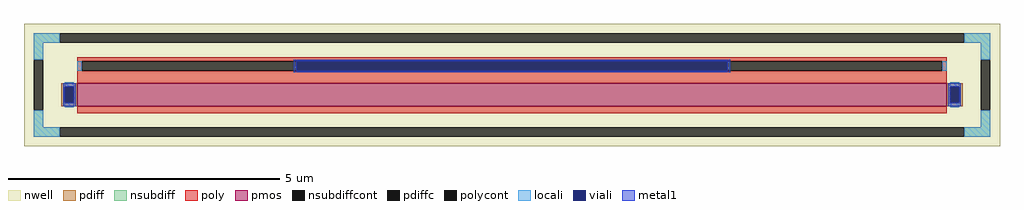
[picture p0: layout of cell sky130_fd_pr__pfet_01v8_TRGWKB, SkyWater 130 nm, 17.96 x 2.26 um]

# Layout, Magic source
magic
tech sky130A
magscale 1 2
<< nwell >>
rect -1796 -226 1796 226
<< pmos >>
rect -1600 -78 1600 6
<< pdiff >>
rect -1658 -6 -1600 6
rect -1658 -66 -1646 -6
rect -1612 -66 -1600 -6
rect -1658 -78 -1600 -66
rect 1600 -6 1658 6
rect 1600 -66 1612 -6
rect 1646 -66 1658 -6
rect 1600 -78 1658 -66
<< pdiffc >>
rect -1646 -66 -1612 -6
rect 1612 -66 1646 -6
<< nsubdiff >>
rect -1760 156 -1664 190
rect 1664 156 1760 190
rect -1760 93 -1726 156
rect 1726 93 1760 156
rect -1760 -156 -1726 -93
rect 1726 -156 1760 -93
rect -1760 -190 -1664 -156
rect 1664 -190 1760 -156
<< nsubdiffcont >>
rect -1664 156 1664 190
rect -1760 -93 -1726 93
rect 1726 -93 1760 93
rect -1664 -190 1664 -156
<< poly >>
rect -1600 87 1600 103
rect -1600 53 -1584 87
rect 1584 53 1600 87
rect -1600 6 1600 53
rect -1600 -104 1600 -78
<< polycont >>
rect -1584 53 1584 87
<< locali >>
rect -1760 156 -1664 190
rect 1664 156 1760 190
rect -1760 93 -1726 156
rect 1726 93 1760 156
rect -1600 53 -1584 87
rect 1584 53 1600 87
rect -1646 -6 -1612 10
rect -1646 -82 -1612 -66
rect 1612 -6 1646 10
rect 1612 -82 1646 -66
rect -1760 -156 -1726 -93
rect 1726 -156 1760 -93
rect -1760 -190 -1664 -156
rect 1664 -190 1760 -156
<< viali >>
rect -792 53 792 87
rect -1646 -66 -1612 -6
rect 1612 -66 1646 -6
<< metal1 >>
rect -804 87 804 93
rect -804 53 -792 87
rect 792 53 804 87
rect -804 47 804 53
rect -1652 -6 -1606 6
rect -1652 -66 -1646 -6
rect -1612 -66 -1606 -6
rect -1652 -78 -1606 -66
rect 1606 -6 1652 6
rect 1606 -66 1612 -6
rect 1646 -66 1652 -6
rect 1606 -78 1652 -66
<< properties >>
string FIXED_BBOX -1743 -173 1743 173
string gencell sky130_fd_pr__pfet_01v8
string library sky130
string parameters w 0.42 l 16.0 m 1 nf 1 diffcov 100 polycov 100 guard 1 glc 1 grc 1 gtc 1 gbc 1 tbcov 100 rlcov 100 topc 1 botc 0 poverlap 0 doverlap 1 lmin 0.15 wmin 0.42 compatible {sky130_fd_pr__pfet_01v8  sky130_fd_pr__pfet_01v8_lvt sky130_fd_pr__pfet_01v8_hvt  sky130_fd_pr__pfet_g5v0d10v5} full_metal 1 viasrc 100 viadrn 100 viagate 50 viagb 0 viagr 0 viagl 0 viagt 0
<< end >>
